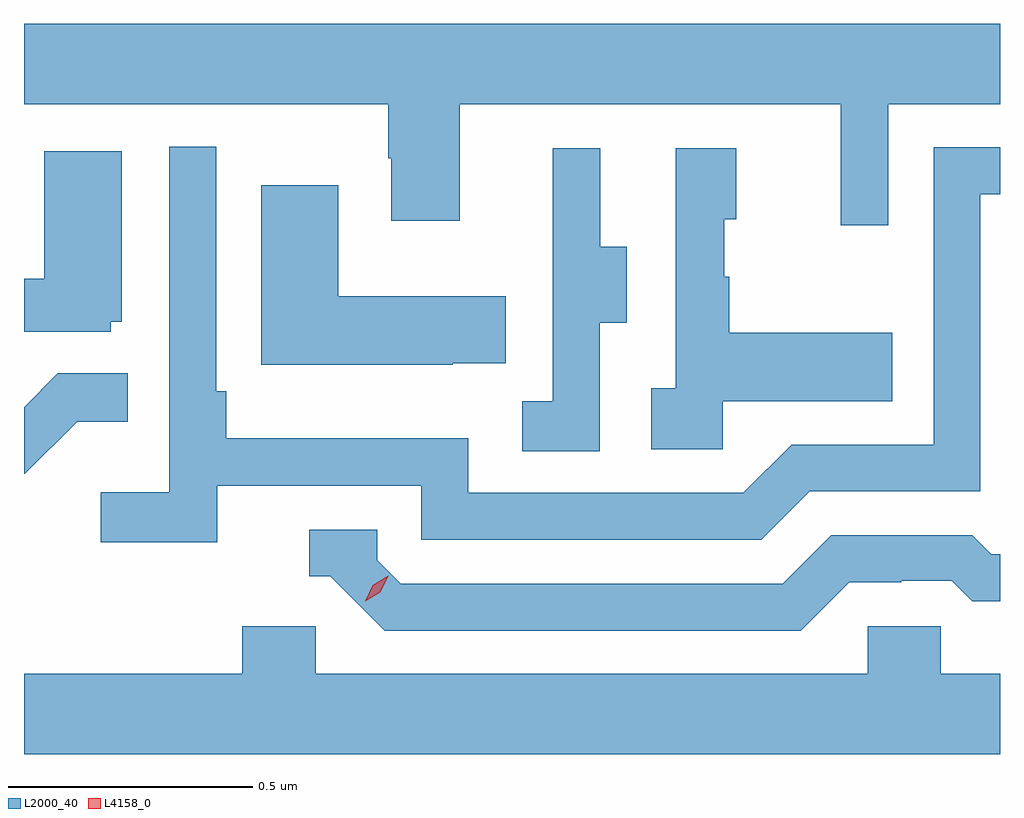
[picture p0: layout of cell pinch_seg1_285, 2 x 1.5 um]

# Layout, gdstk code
import gdstk
lib = gdstk.Library(unit=1e-6, precision=1e-09)
def P(c, l, *ps):  # polygons
    for p in ps: c.add(gdstk.Polygon(p, *l))
L2000_40 = (2000, 40)
L4158_0 = (4158, 0)

pinch_seg1_285 = lib.new_cell('pinch_seg1_285')
P(pinch_seg1_285, L2000_40, [(950.289,558.392),(950.518,558.392),(950.518,558.556),(948.518,558.556),(948.518,558.392),(949.264,558.392),(949.264,558.281),(949.271,558.281),(949.271,558.153),(949.411,558.153),(949.411,558.392),(950.192,558.392),(950.192,558.144),(950.289,558.144)],
  [(948.914,557.61),(949.332,557.61),(949.332,557.499),(950.029,557.499),(950.128,557.598),(950.478,557.598),(950.478,558.207),(950.518,558.207),(950.518,558.303),(950.382,558.303),(950.382,557.694),(950.091,557.694),(949.992,557.595),(949.428,557.595),(949.428,557.707),(948.932,557.707),(948.932,557.803),(948.912,557.803),(948.912,558.304),(948.816,558.304),(948.816,557.596),(948.675,557.596),(948.675,557.494),(948.914,557.494)],
  [(949.698,557.944),(949.753,557.944),(949.753,558.099),(949.699,558.099),(949.699,558.301),(949.601,558.301),(949.601,558.087),(949.602,558.087),(949.602,557.783),(949.539,557.783),(949.539,557.68),(949.698,557.68)],
  [(949.95,557.783),(950.297,557.783),(950.297,557.923),(949.963,557.923),(949.963,558.038),(949.953,558.038),(949.953,558.156),(949.978,558.156),(949.978,558.301),(949.854,558.301),(949.854,557.81),(949.803,557.81),(949.803,557.685),(949.95,557.685)],
  [(948.696,557.946),(948.718,557.946),(948.718,558.295),(948.56,558.295),(948.56,558.034),(948.518,558.034),(948.518,557.925),(948.696,557.925)],
  [(949.397,557.861),(949.505,557.861),(949.505,557.998),(949.162,557.998),(949.162,558.226),(949.004,558.226),(949.004,557.858),(949.397,557.858)],
  [(948.627,557.741),(948.731,557.741),(948.731,557.84),(948.587,557.84),(948.518,557.771),(948.518,557.634),(948.52,557.634)],
  [(950.209,557.412),(950.316,557.412),(950.316,557.415),(950.419,557.415),(950.461,557.373),(950.518,557.373),(950.518,557.469),(950.5,557.469),(950.461,557.508),(950.172,557.508),(950.073,557.409),(949.29,557.409),(949.242,557.457),(949.242,557.52),(949.103,557.52),(949.103,557.424),(949.146,557.424),(949.257,557.313),(950.11,557.313)],
  [(950.518,557.224),(950.397,557.224),(950.397,557.322),(950.247,557.322),(950.247,557.224),(949.116,557.224),(949.116,557.322),(948.965,557.322),(948.965,557.224),(948.518,557.224),(948.518,557.06),(950.518,557.06)])
P(pinch_seg1_285, L4158_0, [(949.217,557.373),(949.217,557.373),(949.233,557.406),(949.264,557.425),(949.264,557.425),(949.264,557.424),(949.248,557.392),(949.217,557.373)])

lib.write_gds('pinch_seg1_285.gds')
